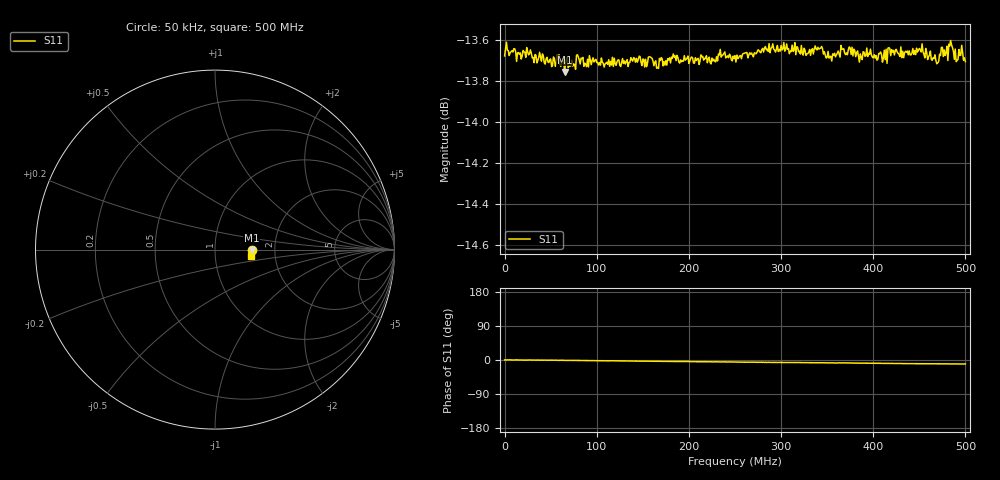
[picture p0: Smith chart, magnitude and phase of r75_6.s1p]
# MHz S MA R 50
!  freq  S11
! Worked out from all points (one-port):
!   501 points, 50 kHz to 500 MHz, reference 50 ohm
!   lowest |S11| = -13.8 dB at 65.04 MHz (marker M1), VSWR 1.52, Z = 75.8 - j0.442 ohm
!   |S11| at or under -10 dB: start of sweep to end of sweep
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0.05  0.207 0.1
26.0474  0.2072 -0.0
34.0466  0.2071 -0.3
63.0437  0.2066 -1.1
65.0435  0.2052 -0.8
80.042  0.2069 -1.2
125.0375  0.2059 -2.5
153.0347  0.2066 -3.2
158.0342  0.2069 -3.3
165.0335  0.2056 -3.1
188.0312  0.2069 -4.0
250.025  0.2071 -5.2
313.0187  0.2075 -6.6
328.0172  0.2072 -7.0
342.0158  0.2079 -7.3
354.0146  0.207 -7.5
375.0125  0.2079 -7.8
386.0114  0.2072 -8.3
395.0105  0.2073 -8.6
403.0097  0.2071 -8.9
418.0082  0.2079 -9.0
438.0062  0.2072 -9.7
451.0049  0.2077 -9.7
470.003  0.2062 -9.7
484.0016  0.2088 -10.2
490.001  0.2064 -10.4
495.0005  0.2071 -10.5
500  0.2064 -10.6
